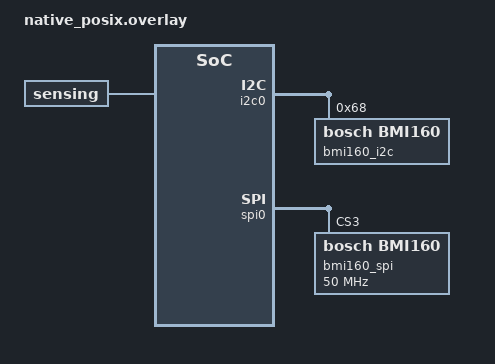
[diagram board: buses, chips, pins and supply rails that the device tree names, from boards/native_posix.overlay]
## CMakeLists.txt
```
# SPDX-License-Identifier: Apache-2.0

cmake_minimum_required(VERSION 3.28.0)

find_package(Zephyr REQUIRED HINTS $ENV{ZEPHYR_BASE})
project(sensing)

target_sources(app PRIVATE src/main.c)
```

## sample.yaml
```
sample:
  description: A sensor framework sample
  name: sensing sample
common:
  tags: sensing
  integration_platforms:
    - native_sim
  harness: console
  harness_config:
    type: multi_line
    regex:
      - "sensing subsystem run successfully"
tests:
  sample.sensing.simple:
    platform_allow:
      - native_sim
    tags: sensing
```

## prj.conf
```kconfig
CONFIG_LOG=y
CONFIG_HEAP_MEM_POOL_SIZE=2048
```

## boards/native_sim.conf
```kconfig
#Enable BMI160 and BMI160 Emulator
CONFIG_BMI160_TRIGGER_NONE=y
CONFIG_EMUL_BMI160=y
CONFIG_SENSOR=y
CONFIG_SENSOR_INFO=y
CONFIG_EMUL=y
```

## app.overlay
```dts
/*
 * Copyright (c) 2023 Intel Corporation
 *
 * SPDX-License-Identifier: Apache-2.0
 *
 * Application overlay for testing the devicetree.h API.
 *
 * Names in this file should be chosen in a way that won't conflict
 * with real-world devicetree nodes, to allow these tests to run on
 * (and be extended to test) real hardware.
 */

/ {
	sensing: sensing-node {
		compatible = "zephyr,sensing";
		status = "okay";
	};
};
```

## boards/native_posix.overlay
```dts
/*
 * Copyright (c) 2023 Intel Corporation
 *
 * SPDX-License-Identifier: Apache-2.0
 */

&i2c0 {
	bmi160_i2c: bmi@68 {
		compatible = "bosch,bmi160";
		reg = <0x68>;
	};
};

&spi0 {
	bmi160_spi: bmi@3 {
		compatible = "bosch,bmi160";
		spi-max-frequency = <DT_FREQ_M(50)>;
		reg = <0x3>;
	};
};

/ {
	sensing: sensing-node {
		compatible = "zephyr,sensing";
		status = "okay";

		base_accel: base-accel {
			compatible = "zephyr,sensing-phy-3d-sensor";
			status = "okay";
			sensor-type = <0x73>;
			friendly-name = "Base Accelerometer Sensor";
			minimal-interval = <625>;
			underlying-device = <&bmi160_i2c>;
		};

		lid_accel: lid-accel {
			compatible = "zephyr,sensing-phy-3d-sensor";
			status = "okay";
			sensor-type = <0x73>;
			friendly-name = "Lid Accelerometer Sensor";
			minimal-interval = <625>;
			underlying-device = <&bmi160_spi>;
		};
	};
};
```

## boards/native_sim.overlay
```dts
/*
 * Copyright (c) 2023 Intel Corporation
 *
 * SPDX-License-Identifier: Apache-2.0
 */

#include <zephyr/sensing/sensing_sensor_types.h>

&i2c0 {
	bmi160_i2c: bmi@68 {
		compatible = "bosch,bmi160";
		reg = <0x68>;
	};
};

&spi0 {
	bmi160_spi: bmi@3 {
		compatible = "bosch,bmi160";
		reg = <0x3>;
		spi-max-frequency = <50000000>;
	};
};

/ {
	sensing: sensing-node {
		compatible = "zephyr,sensing";
		status = "okay";

		base_accel_gyro: base-accel-gyro {
			compatible = "zephyr,sensing-phy-3d-sensor";
			sensor-types = <SENSING_SENSOR_TYPE_MOTION_ACCELEROMETER_3D
					SENSING_SENSOR_TYPE_MOTION_GYROMETER_3D>;
			friendly-name = "Base Accel Gyro Sensor";
			minimal-interval = <625>;
			underlying-device = <&bmi160_i2c>;
			status = "okay";
		};

		lid_accel_gyro: lid-accel-gyro {
			compatible = "zephyr,sensing-phy-3d-sensor";
			sensor-types = <SENSING_SENSOR_TYPE_MOTION_ACCELEROMETER_3D
					SENSING_SENSOR_TYPE_MOTION_GYROMETER_3D>;
			friendly-name = "Lid Accel Gyro Sensor";
			minimal-interval = <625>;
			underlying-device = <&bmi160_spi>;
			status = "okay";
		};

		hinge_angle: hinge-angle {
			compatible = "zephyr,sensing-hinge-angle";
			sensor-types = <SENSING_SENSOR_TYPE_MOTION_HINGE_ANGLE>;
			friendly-name = "Hinge Angle Sensor";
			reporters = <&base_accel_gyro &lid_accel_gyro>;
			reporters-index = <0 0>;
			minimal-interval = <100000>;
			stream-mode;
			status = "okay";
		};
	};
};
```

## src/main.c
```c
/*
 * Copyright (c) 2023 Intel Corporation.
 *
 * SPDX-License-Identifier: Apache-2.0
 */

#include <zephyr/device.h>
#include <zephyr/devicetree.h>
#include <zephyr/logging/log.h>
#include <zephyr/sys/clock.h>
#include <zephyr/sensing/sensing.h>

LOG_MODULE_REGISTER(main, LOG_LEVEL_INF);

static void acc_data_event_callback(sensing_sensor_handle_t handle, const void *buf,
				    void *context)
{
	const struct sensing_sensor_info *info = sensing_get_sensor_info(handle);
	struct sensing_sensor_value_3d_q31 *sample = (struct sensing_sensor_value_3d_q31 *)buf;

	ARG_UNUSED(context);

	LOG_INF("%s(%d), handle:%p, Sensor:%s data:(x:%d, y:%d, z:%d)",
		__func__, __LINE__, handle, info->name,
		sample->readings[0].x,
		sample->readings[0].y,
		sample->readings[0].z);
}

static void hinge_angle_data_event_callback(sensing_sensor_handle_t handle, const void *buf,
				    void *context)
{
	const struct sensing_sensor_info *info = sensing_get_sensor_info(handle);
	struct sensing_sensor_value_q31 *sample = (struct sensing_sensor_value_q31 *)buf;

	ARG_UNUSED(context);

	LOG_INF("handle:%p, Sensor:%s data:(v:%d)", handle, info->name, sample->readings[0].v);
}

static struct sensing_callback_list base_acc_cb_list = {
	.on_data_event = &acc_data_event_callback,
};

static struct sensing_callback_list hinge_angle_cb_list = {
	.on_data_event = &hinge_angle_data_event_callback,
};

int main(void)
{
	const struct sensing_sensor_info *info;
	sensing_sensor_handle_t base_acc;
	sensing_sensor_handle_t hinge_angle;
	struct sensing_sensor_config base_acc_config;
	struct sensing_sensor_config hinge_angle_config;
	const struct sensing_sensor_info *tmp_sensor_info = NULL;
	const struct sensing_sensor_info *accle_info = NULL;
	const struct sensing_sensor_info *hinge_info = NULL;
	int ret, i, num = 0;

	ret = sensing_get_sensors(&num, &info);
	if (ret) {
		LOG_ERR("sensing_get_sensors error");
		return 0;
	}

	for (i = 0; i < num; ++i) {
		LOG_INF("Sensor %d: name: %s friendly_name: %s type: %d",
			 i,
			 info[i].name,
			 info[i].friendly_name,
			 info[i].type);
		switch (info[i].type) {
		case SENSING_SENSOR_TYPE_MOTION_ACCELEROMETER_3D:
			accle_info = &info[i];
			break;
		case SENSING_SENSOR_TYPE_MOTION_HINGE_ANGLE:
			hinge_info = &info[i];
			break;
		default:
			break;
		}
	}

	LOG_INF("sensing subsystem run successfully");

	ret = sensing_open_sensor(accle_info, &base_acc_cb_list, &base_acc);
	if (ret) {
		LOG_ERR("sensing_open_sensor, type:0x%x index:0 error:%d",
			SENSING_SENSOR_TYPE_MOTION_ACCELEROMETER_3D, ret);
	}

	ret = sensing_open_sensor(hinge_info, &hinge_angle_cb_list,
					&hinge_angle);
	if (ret) {
		LOG_ERR("sensing_open_sensor_by_type, type:0x%x index:0 error:%d",
			SENSING_SENSOR_TYPE_MOTION_HINGE_ANGLE, ret);
	}

	/* set base acc, lid acc, hinge sensor interval */
	base_acc_config.attri = SENSING_SENSOR_ATTRIBUTE_INTERVAL;
	base_acc_config.interval = 100 * USEC_PER_MSEC;
	ret = sensing_set_config(base_acc, &base_acc_config, 1);
	if (ret) {
		LOG_ERR("base_acc sensing_set_interval error:%d\n", ret);
	}

	tmp_sensor_info = sensing_get_sensor_info(hinge_angle);
	hinge_angle_config.attri = SENSING_SENSOR_ATTRIBUTE_INTERVAL;
	hinge_angle_config.interval = tmp_sensor_info->minimal_interval;
	ret = sensing_set_config(hinge_angle, &hinge_angle_config, 1);
	if (ret) {
		LOG_ERR("hinge_angle sensing_set_interval error:%d\n", ret);
	}

	memset(&base_acc_config, 0x00, sizeof(struct sensing_sensor_config));
	memset(&hinge_angle_config, 0x00, sizeof(struct sensing_sensor_config));

	/* get base acc, lid acc, hinge sensor interval */
	base_acc_config.attri = SENSING_SENSOR_ATTRIBUTE_INTERVAL;
	ret = sensing_get_config(base_acc, &base_acc_config, 1);
	if (ret) {
		LOG_ERR("base_acc sensing_get_interval error:%d\n", ret);
	}

	hinge_angle_config.attri = SENSING_SENSOR_ATTRIBUTE_INTERVAL;
	ret = sensing_get_config(hinge_angle, &hinge_angle_config, 1);
	if (ret) {
		LOG_ERR("hinge_angle sensing_get_interval error:%d\n", ret);
	}

	/* set base acc, lid acc, hinge sensor sensitivity */
	base_acc_config.attri = SENSING_SENSOR_ATTRIBUTE_SENSITIVITY;
	base_acc_config.data_field = SENSING_SENSITIVITY_INDEX_ALL;
	base_acc_config.sensitivity = 0;
	ret = sensing_set_config(base_acc, &base_acc_config, 1);
	if (ret) {
		LOG_ERR("base_acc sensing_set_sensitivity error:%d\n", ret);
	}

	hinge_angle_config.attri = SENSING_SENSOR_ATTRIBUTE_SENSITIVITY;
	hinge_angle_config.data_field = SENSING_SENSITIVITY_INDEX_ALL;
	hinge_angle_config.sensitivity = 1;
	ret = sensing_set_config(hinge_angle, &hinge_angle_config, 1);
	if (ret) {
		LOG_ERR("hinge_angle sensing_set_sensitivity error:%d\n", ret);
	}

	memset(&base_acc_config, 0x00, sizeof(struct sensing_sensor_config));
	memset(&hinge_angle_config, 0x00, sizeof(struct sensing_sensor_config));

	/* get base acc, lid acc, hinge sensor sensitivity */
	base_acc_config.attri = SENSING_SENSOR_ATTRIBUTE_SENSITIVITY;
	base_acc_config.data_field = SENSING_SENSITIVITY_INDEX_ALL;
	ret = sensing_get_config(base_acc, &base_acc_config, 1);
	if (ret) {
		LOG_ERR("base_acc sensing_get_sensitivity error:%d\n", ret);
	}

	hinge_angle_config.attri = SENSING_SENSOR_ATTRIBUTE_SENSITIVITY;
	hinge_angle_config.data_field = SENSING_SENSITIVITY_INDEX_ALL;
	ret = sensing_get_config(hinge_angle, &hinge_angle_config, 1);
	if (ret) {
		LOG_ERR("hinge_angle sensing_get_sensitivity error:%d\n", ret);
	}

	return 0;
}
```
